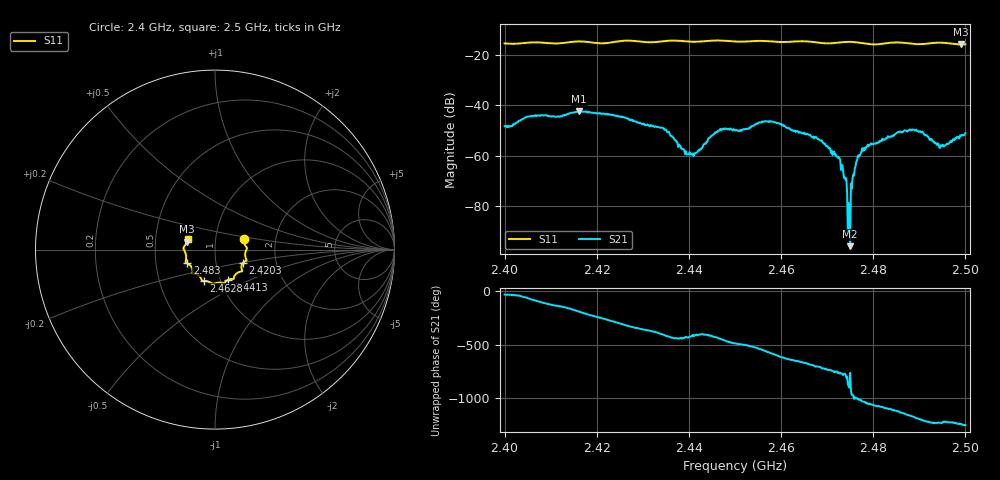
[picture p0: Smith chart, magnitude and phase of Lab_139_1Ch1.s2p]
# Hz S RI R 50
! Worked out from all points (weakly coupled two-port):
!   601 points, 2.4 GHz to 2.5 GHz, reference 50 ohm
!   highest |S21| = -42.32 dB at 2.4162 GHz (marker M1); lowest = -95.9 dB at 2.475 GHz (marker M2)
!   lowest |S11| = -15.8 dB at 2.499 GHz (marker M3), VSWR 1.39, Z = 36.4 + j3.36 ohm
!   |S11| at or under -10 dB: start of sweep to end of sweep
!   S12 and S22 are empty: the file has one direction only
!   S11 on the Smith chart (normalised r, x): 2.4 GHz: 1.37, +0.16; 2.4203 GHz: 1.35, -0.21; 2.4413 GHz: 1.09, -0.38; 2.4628 GHz: 0.83, -0.30; 2.483 GHz: 0.72, -0.11; 2.5 GHz: 0.73, +0.09
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2.4e9  0.1606 0.057  0.00334 -0.00194  0 0  0 0
2.416167e9  0.1768 -0.0606  -0.00754 0.00131  0 0  0 0
2.416667e9  0.1761 -0.0614  -0.00719 0.00216  0 0  0 0
2.420333e9  0.1554 -0.0739  -0.00314 0.00611  0 0  0 0
2.433333e9  0.1081 -0.1484  0.00327 -0.00182  0 0  0 0
2.441333e9  0.0744 -0.1681  0.000771 -0.000829  0 0  0 0
2.446333e9  0.049 -0.1888  0.000712 -0.00306  0 0  0 0
2.45e9  0.0294 -0.1836  -0.00191 -0.00265  0 0  0 0
2.457e9  -0.0167 -0.1883  -0.00427 0.00221  0 0  0 0
2.462833e9  -0.0629 -0.1749  0.000907 0.00306  0 0  0 0
2.466667e9  -0.0743 -0.1675  0.00201 0.00127  0 0  0 0
2.472333e9  -0.1137 -0.1349  0.000658 -0.000636  0 0  0 0
2.473667e9  -0.1217 -0.1344  0.000224 -0.000287  0 0  0 0
2.4745e9  -0.1244 -0.1342  -2.51e-05 -1.46e-05  0 0  0 0
2.475e9  -0.1251 -0.1335  1.19e-05 -1.07e-05  0 0  0 0
2.477167e9  -0.1243 -0.1235  0.000387 0.000963  0 0  0 0
2.483e9  -0.1549 -0.0767  0.00219 -0.000531  0 0  0 0
2.483333e9  -0.157 -0.0756  0.00224 -0.000785  0 0  0 0
2.488833e9  -0.1605 -0.043  -0.000233 -0.00326  0 0  0 0
2.494833e9  -0.1757 0.0101  -0.00141 -0.000786  0 0  0 0
2.499e9  -0.1558 0.045  -0.00227 -0.000881  0 0  0 0
2.5e9  -0.1527 0.0588  -0.00277 -0.00054  0 0  0 0
